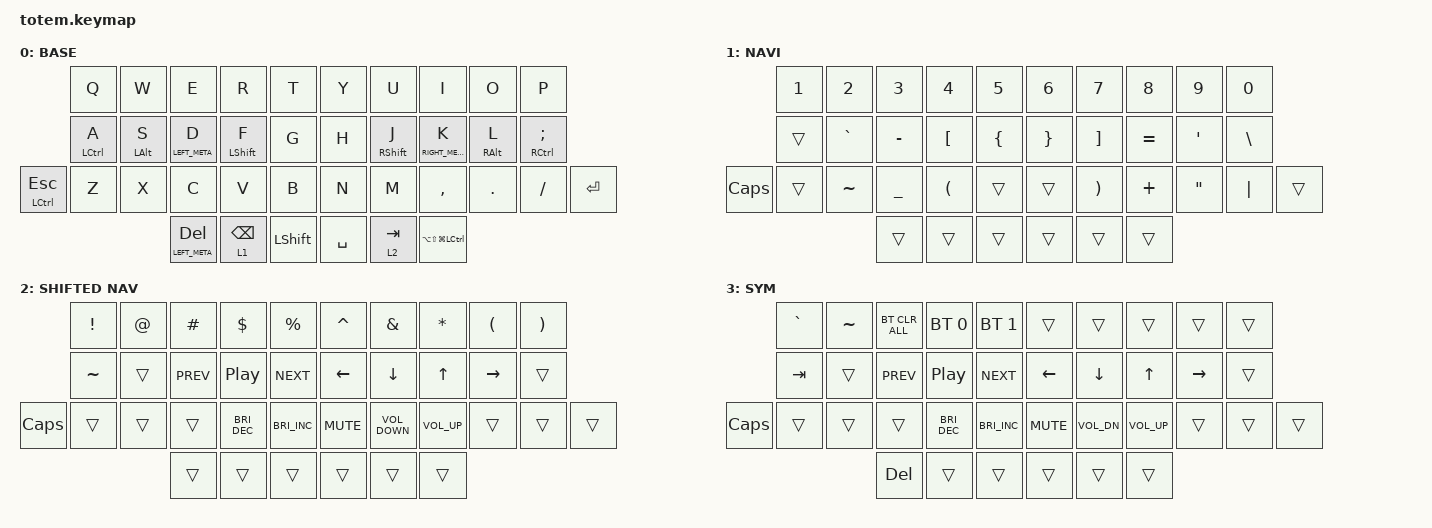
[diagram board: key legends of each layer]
//
//                                                        ▀▀▀▀▀     ▀▀▀▀▀          ▀▀█▀▀
//                                                        ▄▀▀▀▄  ▄  ▄▀▀▀▄  ▄  ▄▀▀▀▄  █  ▄▀▀▀▄
//                                                        █   █  █  █   █  █  █   █  █  █   █
//                                                         ▀▀▀   █   ▀▀▀   █   ▀▀▀   ▀   ▀▀▀
//                                                               █      ▄▄▄█▄▄▄    █   █  
//                                                               ▀      █  █  █     █▄█
//                                                             ▀▀▀▀▀    █  █  █      ▀
//                                                                      ▀  ▀  ▀
//
// ▄▄▄▄▄▄▄▄▄▄▄▄▄▄▄▄▄▄▄▄▄▄▄▄▄▄▄▄▄▄▄▄▄▄▄▄▄▄▄▄▄▄▄▄▄▄▄▄▄▄▄▄▄▄▄▄▄▄▄▄▄▄▄▄▄▄▄▄▄▄▄▄▄▄▄▄▄▄▄▄▄▄▄▄▄▄▄▄▄▄▄▄▄▄▄▄▄▄▄▄▄▄▄▄▄▄▄▄▄▄▄▄▄▄▄▄▄▄▄▄▄▄▄▄▄▄▄▄▄▄▄▄▄▄▄▄▄▄▄▄▄▄▄▄▄▄▄▄▄

#include <behaviors.dtsi>
#include <dt-bindings/zmk/bt.h>
#include <dt-bindings/zmk/keys.h>

#define BASE 0
#define NAV  1
#define SYM  2
#define ADJ  3
#define TVP1 4
#define TVP2 5

&mt {
    quick-tap-ms = <200>;
    global-quick-tap;
    flavor = "tap-preferred";
    require-prior-idle-ms = <125>;
};

&lt { flavor = "hold-preferred"; };

/ {
    combos {
        compatible = "zmk,combos";

        combo_esc {
            timeout-ms = <50>;
            key-positions = <0 1>;
            bindings = <&kp ESC>;
        };

        combo_tvp {
            timeout-ms = <100>;
            key-positions = <11 12 13>;
            bindings = <&tog 0>;
        };
    };

    macros {
        gif: gif {
            label = "giphy";
            compatible = "zmk,behavior-macro";
            #binding-cells = <0>;
            bindings =
                <&macro_press>,
                <&kp LSHFT>,
                <&macro_tap>,
                <&kp N2>,
                <&macro_release>,
                <&kp LSHFT>,
                <&macro_tap>,
                <&kp G &kp I &kp F>;
        };
    };

    behaviors {
        strong_homerow: strong_homerow {
            compatible = "zmk,behavior-hold-tap";
            label = "STRONG_HOMEROW";
            bindings = <&kp>, <&kp>;

            #binding-cells = <2>;
            tapping-term-ms = <185>;
            quick-tap-ms = <185>;
            flavor = "tap-preferred";
        };

        weak_homerow: weak_homerow {
            compatible = "zmk,behavior-hold-tap";
            label = "WEAK_HOMEROW";
            bindings = <&kp>, <&kp>;

            #binding-cells = <2>;
            tapping-term-ms = <195>;
            quick-tap-ms = <195>;
            require-prior-idle-ms = <75>;
            flavor = "tap-preferred";
        };
    };

    keymap {
        compatible = "zmk,keymap";

        // ▄▄▄▄▄▄▄▄▄▄▄▄▄▄▄▄▄▄▄▄▄▄▄▄▄▄▄▄▄▄▄▄▄▄▄▄▄▄▄▄▄▄▄▄▄▄▄▄▄▄▄▄▄▄▄▄▄▄▄▄▄▄▄▄▄▄▄▄▄▄▄▄▄▄▄▄▄▄▄▄▄▄▄▄▄▄▄▄▄▄▄▄▄▄▄▄▄▄▄▄▄▄▄▄▄▄▄▄▄▄▄▄▄▄▄▄▄▄▄▄▄▄▄▄▄▄▄▄▄▄▄▄▄▄▄▄▄▄▄▄▄▄▄▄▄▄▄▄▄

        base_layer {
            label = "BASE";
            bindings = <
                      &kp Q                  &kp W                 &kp E                        &kp R                    &kp T             &kp Y      &kp U                    &kp I                         &kp O                 &kp P
                      &weak_homerow LCTRL A  &weak_homerow LALT S  &strong_homerow LEFT_META D  &strong_homerow LSHFT F  &kp G             &kp H      &strong_homerow RSHFT J  &strong_homerow RIGHT_META K  &weak_homerow RALT L  &weak_homerow RIGHT_CONTROL SEMICOLON
&mt LEFT_CONTROL ESC  &kp Z                  &kp X                 &kp C                        &kp V                    &kp B             &kp N      &kp M                    &kp COMMA                     &kp DOT               &kp FSLH                               &kp ENTER
                                                                   &mt LEFT_META DELETE         &lt 1 BACKSPACE          &kp LEFT_SHIFT    &kp SPACE  &lt 2 TAB                &kp LA(LS(LG(LEFT_CONTROL)))
            >;
        };

        nav_layer {
            label = "NAVI";
            bindings = <
              &kp N1  &kp N2     &kp N3          &kp N4                &kp N5            &kp N6           &kp N7                 &kp N8     &kp N9             &kp N0
              &trans  &kp GRAVE  &kp MINUS       &kp LEFT_BRACKET      &kp LEFT_BRACE    &kp RIGHT_BRACE  &kp RIGHT_BRACKET      &kp EQUAL  &kp SQT            &kp BACKSLASH
&kp CAPSLOCK  &trans  &kp TILDE  &kp UNDERSCORE  &kp LEFT_PARENTHESIS  &trans            &trans           &kp RIGHT_PARENTHESIS  &kp PLUS   &kp DOUBLE_QUOTES  &kp PIPE       &trans
                                 &trans          &trans                &trans            &trans           &trans                 &trans
            >;
        };

        layer_2 {
            label = "SHIFTED NAV";
            bindings = <
              &kp EXCLAMATION  &kp AT_SIGN  &kp HASH    &kp DOLLAR            &kp PERCENT             &kp CARET   &kp AMPERSAND      &kp ASTERISK  &kp LEFT_PARENTHESIS  &kp RIGHT_PARENTHESIS
              &kp TILDE        &trans       &kp C_PREV  &kp C_PLAY_PAUSE      &kp C_NEXT              &kp LEFT    &kp DOWN           &kp UP_ARROW  &kp RIGHT             &trans
&kp CAPSLOCK  &trans           &trans       &trans      &kp C_BRIGHTNESS_DEC  &kp C_BRIGHTNESS_INC    &kp C_MUTE  &kp C_VOLUME_DOWN  &kp C_VOL_UP  &trans                &trans                 &trans
                                            &trans      &trans                &trans                  &trans      &trans             &trans
            >;
        };

        sim_layer {
            label = "SYM";
            bindings = <
              &kp GRAVE  &kp TILDE  &bt BT_CLR_ALL  &bt BT_SEL 0      &bt BT_SEL 1            &trans      &trans        &trans        &trans     &trans
              &kp TAB    &trans     &kp C_PREV      &kp C_PLAY_PAUSE  &kp C_NEXT              &kp LEFT    &kp DOWN      &kp UP        &kp RIGHT  &trans
&kp CAPSLOCK  &trans     &trans     &trans          &kp C_BRI_DEC     &kp C_BRIGHTNESS_INC    &kp C_MUTE  &kp C_VOL_DN  &kp C_VOL_UP  &trans     &trans  &trans
                                    &kp DELETE      &trans            &trans                  &trans      &trans        &trans
            >;
        };

        // ▄▄▄▄▄▄▄▄▄▄▄▄▄▄▄▄▄▄▄▄▄▄▄▄▄▄▄▄▄▄▄▄▄▄▄▄▄▄▄▄▄▄▄▄▄▄▄▄▄▄▄▄▄▄▄▄▄▄▄▄▄▄▄▄▄▄▄▄▄▄▄▄▄▄▄▄▄▄▄▄▄▄▄▄▄▄▄▄▄▄▄▄▄▄▄▄▄▄▄▄▄▄▄▄▄▄▄▄▄▄▄▄▄▄▄▄▄▄▄▄▄▄▄▄▄▄▄▄▄▄▄▄▄▄▄▄▄▄▄▄▄▄▄▄▄▄▄▄▄
        // ▄▄▄▄▄▄▄▄▄▄▄▄▄▄▄▄▄▄▄▄▄▄▄▄▄▄▄▄▄▄▄▄▄▄▄▄▄▄▄▄▄▄▄▄▄▄▄▄▄▄▄▄▄▄▄▄▄▄▄▄▄▄▄▄▄▄▄▄▄▄▄▄▄▄▄▄▄▄▄▄▄▄▄▄▄▄▄▄▄▄▄▄▄▄▄▄▄▄▄▄▄▄▄▄▄▄▄▄▄▄▄▄▄▄▄▄▄▄▄▄▄▄▄▄▄▄▄▄▄▄▄▄▄▄▄▄▄▄▄▄▄▄▄▄▄▄▄▄▄
        // ▄▄▄▄▄▄▄▄▄▄▄▄▄▄▄▄▄▄▄▄▄▄▄▄▄▄▄▄▄▄▄▄▄▄▄▄▄▄▄▄▄▄▄▄▄▄▄▄▄▄▄▄▄▄▄▄▄▄▄▄▄▄▄▄▄▄▄▄▄▄▄▄▄▄▄▄▄▄▄▄▄▄▄▄▄▄▄▄▄▄▄▄▄▄▄▄▄▄▄▄▄▄▄▄▄▄▄▄▄▄▄▄▄▄▄▄▄▄▄▄▄▄▄▄▄▄▄▄▄▄▄▄▄▄▄▄▄▄▄▄▄▄▄▄▄▄▄▄▄
    };

    conditional_layers {
        compatible = "zmk,conditional-layers";

        both_layers_pressed {
            if-layers = <1 2>;
            then-layer = <3>;
        };
    };
};
